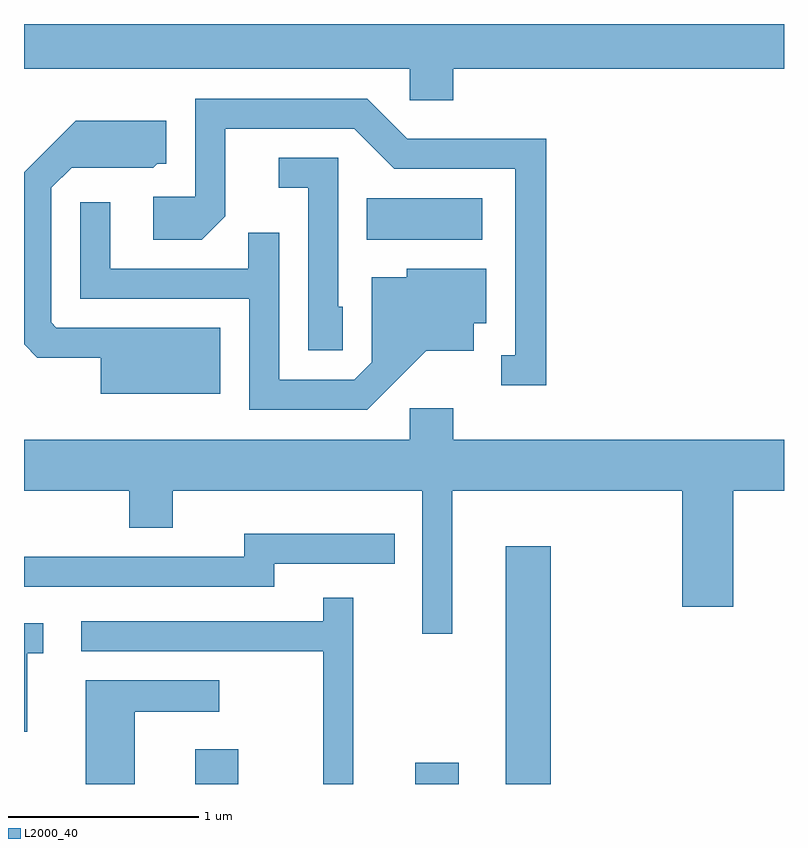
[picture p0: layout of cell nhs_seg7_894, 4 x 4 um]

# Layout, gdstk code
import gdstk
lib = gdstk.Library(unit=1e-6, precision=1e-09)
def R(c, l, rs):  # rectangles x0, y0, x1, y1
    for r in rs: c.add(gdstk.rectangle(r[:2], r[2:], *l))
def P(c, l, *ps):  # polygons
    for p in ps: c.add(gdstk.Polygon(p, *l))
L2000_40 = (2000, 40)

nhs_seg7_894 = lib.new_cell('nhs_seg7_894')
R(nhs_seg7_894, L2000_40, [(212.511,1788.252,212.739,1788.434), (213.671,1788.252,213.899,1788.364), (214.146,1788.252,214.384,1789.504), (213.416,1791.116,214.024,1791.334)])
P(nhs_seg7_894, L2000_40, [(213.869,1792.016),(215.611,1792.016),(215.611,1792.252),(211.611,1792.252),(211.611,1792.016),(213.641,1792.016),(213.641,1791.851),(213.869,1791.851)],
  [(214.359,1791.649),(213.627,1791.649),(213.417,1791.859),(212.511,1791.859),(212.511,1791.344),(212.291,1791.344),(212.291,1791.116),(212.547,1791.116),(212.669,1791.239),(212.669,1791.701),(213.349,1791.701),(213.559,1791.491),(214.196,1791.491),(214.196,1790.509),(214.123,1790.509),(214.123,1790.351),(214.359,1790.351)],
  [(212.644,1790.654),(211.782,1790.654),(211.754,1790.682),(211.754,1791.389),(211.862,1791.496),(212.292,1791.496),(212.312,1791.516),(212.359,1791.516),(212.359,1791.744),(211.884,1791.744),(211.611,1791.472),(211.611,1790.567),(211.682,1790.496),(212.016,1790.496),(212.016,1790.306),(212.644,1790.306)],
  [(213.289,1790.764),(213.264,1790.764),(213.264,1791.549),(212.953,1791.549),(212.953,1791.391),(213.106,1791.391),(213.106,1790.536),(213.289,1790.536)],
  [(213.727,1790.531),(213.979,1790.531),(213.979,1790.676),(214.044,1790.676),(214.044,1790.964),(213.626,1790.964),(213.626,1790.919),(213.441,1790.919),(213.441,1790.472),(213.349,1790.379),(212.954,1790.379),(212.954,1791.153),(212.791,1791.153),(212.791,1790.964),(212.064,1790.964),(212.064,1791.313),(211.906,1791.313),(211.906,1790.806),(212.796,1790.806),(212.796,1790.221),(213.417,1790.221)],
  [(213.864,1789.796),(215.076,1789.796),(215.076,1789.186),(215.344,1789.186),(215.344,1789.796),(215.611,1789.796),(215.611,1790.064),(213.869,1790.064),(213.869,1790.229),(213.641,1790.229),(213.641,1790.064),(211.611,1790.064),(211.611,1789.796),(212.166,1789.796),(212.166,1789.601),(212.394,1789.601),(212.394,1789.796),(213.706,1789.796),(213.706,1789.043),(213.864,1789.043)],
  [(212.929,1789.411),(213.563,1789.411),(213.563,1789.569),(212.771,1789.569),(212.771,1789.449),(211.611,1789.449),(211.611,1789.291),(212.929,1789.291)],
  [(213.344,1789.233),(213.186,1789.233),(213.186,1789.109),(211.913,1789.109),(211.913,1788.951),(213.186,1788.951),(213.186,1788.252),(213.344,1788.252)],
  [(211.629,1788.941),(211.713,1788.941),(211.713,1789.099),(211.611,1789.099),(211.611,1788.526),(211.629,1788.526)],
  [(212.194,1788.631),(212.638,1788.631),(212.638,1788.799),(211.936,1788.799),(211.936,1788.252),(212.194,1788.252)])

lib.write_gds('nhs_seg7_894.gds')
